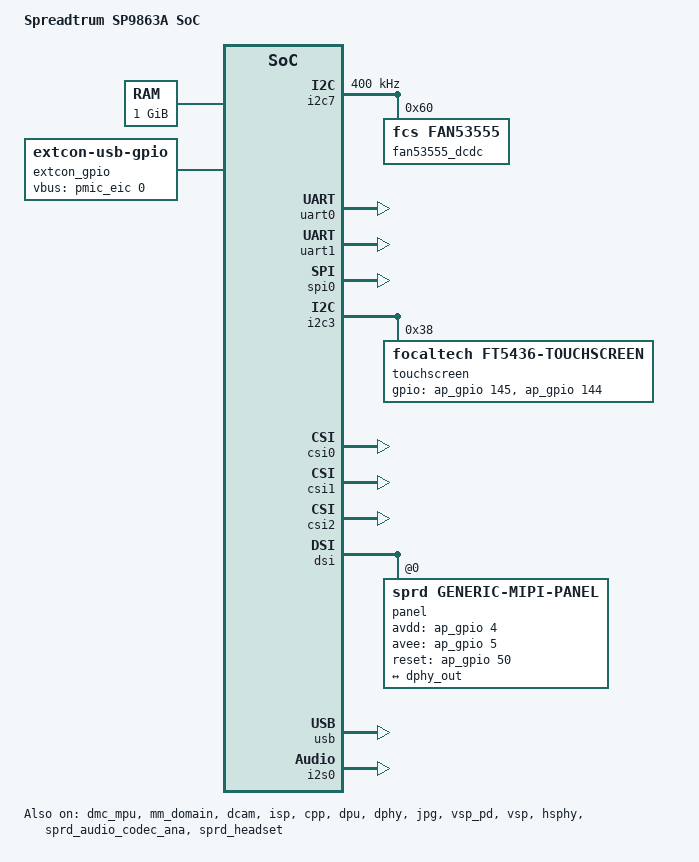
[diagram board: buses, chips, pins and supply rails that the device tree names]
// SPDX-License-Identifier: GPL-2.0-only
/*
 * Unisoc SP9863A-1h10 boards DTS file
 *
 * Copyright (C) 2019, Unisoc Inc.
 */

/dts-v1/;
#include <dt-bindings/gpio/gpio.h>
#include "sc9863a.dtsi"
#include "sc2721.dtsi"
#include "sprd-sound-sharkl.dtsi"
#include "sp9863a-mach.dtsi"
#include "sc9863a-wcn.dtsi"

/ {
	model = "Spreadtrum SP9863A SoC";

	compatible = "sprd,sc9863a";

	sprd,sc-id = "sp9863a 1000 1000";

	aliases {
		serial0 = &uart0;
		serial1 = &uart1;
	};

	memory@80000000 {
		device_type = "memory";
		reg = <0x80000000 0x40000000>;
	};

	chosen: chosen {
		stdout-path = "serial1:115200n8";
		bootargs = "earlycon console=ttyS1,115200n8 loop.max_part=7 loglevel=1 init=/init root=/dev/ram0 rw printk.devkmsg=on androidboot.boot_devices=soc/soc:ap-ahb/20600000.sdio dummy_hcd.num=0 initcall_debug=1 vmalloc=300M";
	};

	extcon_gpio: extcon-gpio {
		compatible = "linux,extcon-usb-gpio";
		vbus-gpio = <&pmic_eic 0 0>;
	};
};


&i2c7 {
	status = "okay";
};

&dmc_mpu {
	status = "okay";
};

&uart0 {
	status = "okay";
};

&uart1 {
	status = "okay";
};

&spi0 {
	/*used for fingerprint sensor*/
	status = "okay";
};

&vdd18 {
	regulator-always-on;
};

&vddrf18 {
	regulator-always-on;
};

&vddrf125 {
	regulator-always-on;
};

&vddldomem {
	regulator-always-on;
};

&vddsim2 {
	status = "disabled";
};

&i2c3 {
	status = "okay";

	touchscreen@38 {
		compatible = "focaltech,ft5436-touchscreen";
		reg = <0x38>;
		gpios = <&ap_gpio 145 GPIO_ACTIVE_HIGH
			&ap_gpio 144 GPIO_ACTIVE_HIGH>;
		controller = "focaltech,FT5436";
		virtualkeys = <580 60 1320 60 45
			172 360 1320 60 45
			158 600 1320 60 45>;
		surface-width = <720>;
		surface-height = <1280>;
		firmware-auto-upgrade;
		private-data {
			a8 = /bits/ 8 <0x5a>;
		};
	};
};

&i2c7 {
	status = "okay";
	clock-frequency = <400000>;

	fan53555_dcdc: regulator@60 {
		compatible = "fcs,fan53555";
		reg = <0x60>;
		regulator-name = "fan53555";
		regulator-min-microvolt = <603000>;
		regulator-max-microvolt = <1411000>;
		regulator-ramp-delay = <64000>;
		regulator-always-on;
		fcs,suspend-voltage-selector = <1>;
	};
};

&mm_domain {
	status = "okay";
};

&csi0 {
	status = "okay";
};

&csi1 {
	status = "okay";
};

&csi2 {
	status = "okay";
};

&dcam {
	status = "okay";
};

&iommu_dcam {
	status = "okay";
};

&isp {
	status = "okay";
};

&iommu_isp {
	status = "okay";
};

&cpp {
	status = "okay";
};

&iommu_cpp {
	status = "okay";
};

&dpu {
	status = "okay";
};

&iommu_dispc {
	status = "okay";
};

&dsi {
	status = "okay";
	#address-cells = <1>;
	#size-cells = <0>;

	panel: panel {
		compatible = "sprd,generic-mipi-panel";
		#address-cells = <1>;
		#size-cells = <0>;
		reg = <0>;

		avdd-gpio = <&ap_gpio 4 GPIO_ACTIVE_HIGH>;
		avee-gpio = <&ap_gpio 5 GPIO_ACTIVE_HIGH>;
		reset-gpio = <&ap_gpio 50 GPIO_ACTIVE_HIGH>;
		port@1 {
			reg = <1>;
			panel_in: endpoint {
				remote-endpoint = <&dphy_out>;
			};
		};
	};
};

&dphy {
	status = "okay";
};

&jpg {
	status = "okay";
};

&iommu_jpg {
	status = "okay";
};

&vsp_pd {
	status = "okay";
};

&vsp {
	status = "okay";
};

&iommu_vsp {
	status = "okay";
};

&hsphy {
	vdd-supply = <&vddusb33>;
	extcon = <&extcon_gpio>;
	status = "okay";
};

&usb {
	extcon = <&extcon_gpio>;
	status = "okay";
};

&i2s0 {
	status = "okay";
};

&sprd_audio_codec_ana {
	status = "okay";
	digital-codec = <&sprd_audio_codec_dig>;
};

&sprd_headset {
	status = "okay";
};

&sound_vbc_r1p0v3_sprd_codec {
	status = "okay";
};

&sound_sprd_ap_alliis {
	status = "okay";
};
